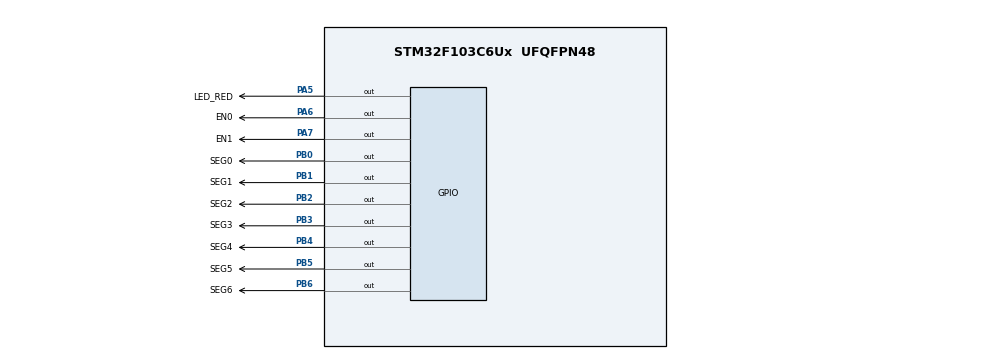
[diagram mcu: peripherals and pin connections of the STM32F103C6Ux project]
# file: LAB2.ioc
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Mcu.Family=STM32F1
Mcu.Name=STM32F103C6Ux
Mcu.Package=UFQFPN48
NVIC.PriorityGroup=NVIC_PRIORITYGROUP_4
NVIC.TIM2_IRQn=true\:0\:0\:false\:false\:true\:true\:true
PA5.GPIO_Label=LED_RED
PA5.Signal=GPIO_Output
PA6.GPIO_Label=EN0
PA6.Signal=GPIO_Output
PA7.GPIO_Label=EN1
PA7.Signal=GPIO_Output
PB0.GPIO_Label=SEG0
PB0.Signal=GPIO_Output
PB1.GPIO_Label=SEG1
PB1.Signal=GPIO_Output
PB2.GPIO_Label=SEG2
PB2.Signal=GPIO_Output
PB3.GPIO_Label=SEG3
PB3.Signal=GPIO_Output
PB4.GPIO_Label=SEG4
PB4.Signal=GPIO_Output
PB5.GPIO_Label=SEG5
PB5.Signal=GPIO_Output
PB6.GPIO_Label=SEG6
PB6.Signal=GPIO_Output
ProjectManager.HeapSize=0x200
ProjectManager.StackSize=0x400
ProjectManager.TargetToolchain=STM32CubeIDE
RCC.APB1Freq_Value=8000000
RCC.APB2Freq_Value=8000000
TIM2.Period=9
TIM2.Prescaler=7999
VP_SYS_VS_ND.Mode=No_Debug
VP_TIM2_VS_ClockSourceINT.Mode=Internal
board=custom

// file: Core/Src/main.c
/* USER CODE BEGIN Header */
/**
  ******************************************************************************
  * @file           : main.c
  * @brief          : Main program body
  ******************************************************************************
  * @attention
  *
  * <h2><center>&copy; Copyright (c) 2024 STMicroelectronics.
  * All rights reserved.</center></h2>
  *
  * This software component is licensed by ST under BSD 3-Clause license,
  * the "License"; You may not use this file except in compliance with the
  * License. You may obtain a copy of the License at:
  *                        opensource.org/licenses/BSD-3-Clause
  *
  ******************************************************************************
  */
/* USER CODE END Header */
#include "main.h"

/* USER CODE BEGIN Includes */
#include "software_timer.h"
/* USER CODE END Includes */

TIM_HandleTypeDef htim2;

void SystemClock_Config(void);
static void MX_TIM2_Init(void);
static void MX_GPIO_Init(void);
void display7SEG(int num);

int main(void)
{

  /* MCU Configuration--------------------------------------------------------*/

  /* Reset of all peripherals, Initializes the Flash interface and the Systick. */
  HAL_Init();

  /* Configure the system clock */
  SystemClock_Config();

  /* Initialize all configured peripherals */
  MX_TIM2_Init();
  MX_GPIO_Init();
  /* USER CODE BEGIN 2 */
  HAL_TIM_Base_Start_IT (& htim2 );
  void display7SEG(int num) {
      // Reset all segments to turn them off
      HAL_GPIO_WritePin(GPIOB, SEG0_Pin|SEG1_Pin|SEG2_Pin|SEG3_Pin|SEG4_Pin|SEG5_Pin|SEG6_Pin, GPIO_PIN_SET);
      switch(num) {
          case 1:
              // Turn on segments to display '1'
              HAL_GPIO_WritePin(GPIOB, SEG1_Pin|SEG2_Pin, GPIO_PIN_RESET);
              break;
          case 2:
              // Turn on segments to display '2'
              HAL_GPIO_WritePin(GPIOB, SEG0_Pin|SEG1_Pin|SEG3_Pin|SEG4_Pin|SEG6_Pin, GPIO_PIN_RESET);
              break;
          // Add cases for other numbers if necessary
      }
  }
  /* USER CODE END 2 */

  /* Infinite loop */
  /* USER CODE BEGIN WHILE */
  int current_display = 0;
  settimer1(50);
  while (1)
  {
	  if(timer1_flag==1){
		  switch (current_display) {
		  case 0:
			  HAL_GPIO_WritePin(GPIOA, EN0_Pin, GPIO_PIN_RESET); // Enable display 1 (PNP low)
			  HAL_GPIO_WritePin(GPIOA, EN1_Pin, GPIO_PIN_SET);   // Disable display 2 (PNP high)
			  display7SEG(1);
			  current_display = 1;
			  break;
		  case 1:
			  // Turn on display 2, turn off display 1
			  HAL_GPIO_WritePin(GPIOA, EN0_Pin, GPIO_PIN_SET);   // Disable display 1 (PNP high)
			  HAL_GPIO_WritePin(GPIOA, EN1_Pin, GPIO_PIN_RESET); // Enable display 2 (PNP low)
			  display7SEG(2);
			  current_display = 0;
			  break;
		  default:
			  current_display = 0;
			  break;
		  }
		  settimer1(50);
    /* USER CODE END WHILE */
	  }
  }
}
void SystemClock_Config(void)
{
  RCC_OscInitTypeDef RCC_OscInitStruct = {0};
  RCC_ClkInitTypeDef RCC_ClkInitStruct = {0};

  /** Initializes the RCC Oscillators according to the specified parameters
  * in the RCC_OscInitTypeDef structure.
  */
  RCC_OscInitStruct.OscillatorType = RCC_OSCILLATORTYPE_HSI;
  RCC_OscInitStruct.HSIState = RCC_HSI_ON;
  RCC_OscInitStruct.HSICalibrationValue = RCC_HSICALIBRATION_DEFAULT;
  RCC_OscInitStruct.PLL.PLLState = RCC_PLL_NONE;
  if (HAL_RCC_OscConfig(&RCC_OscInitStruct) != HAL_OK)
  {
    Error_Handler();
  }
  /** Initializes the CPU, AHB and APB buses clocks
  */
  RCC_ClkInitStruct.ClockType = RCC_CLOCKTYPE_HCLK|RCC_CLOCKTYPE_SYSCLK
                              |RCC_CLOCKTYPE_PCLK1|RCC_CLOCKTYPE_PCLK2;
  RCC_ClkInitStruct.SYSCLKSource = RCC_SYSCLKSOURCE_HSI;
  RCC_ClkInitStruct.AHBCLKDivider = RCC_SYSCLK_DIV1;
  RCC_ClkInitStruct.APB1CLKDivider = RCC_HCLK_DIV1;
  RCC_ClkInitStruct.APB2CLKDivider = RCC_HCLK_DIV1;

  if (HAL_RCC_ClockConfig(&RCC_ClkInitStruct, FLASH_LATENCY_0) != HAL_OK)
  {
    Error_Handler();
  }
}

static void MX_TIM2_Init(void)
{

  TIM_ClockConfigTypeDef sClockSourceConfig = {0};
  TIM_MasterConfigTypeDef sMasterConfig = {0};

  htim2.Instance = TIM2;
  htim2.Init.Prescaler = 7999;
  htim2.Init.CounterMode = TIM_COUNTERMODE_UP;
  htim2.Init.Period = 9;
  htim2.Init.ClockDivision = TIM_CLOCKDIVISION_DIV1;
  htim2.Init.AutoReloadPreload = TIM_AUTORELOAD_PRELOAD_DISABLE;
  if (HAL_TIM_Base_Init(&htim2) != HAL_OK)
  {
    Error_Handler();
  }
  sClockSourceConfig.ClockSource = TIM_CLOCKSOURCE_INTERNAL;
  if (HAL_TIM_ConfigClockSource(&htim2, &sClockSourceConfig) != HAL_OK)
  {
    Error_Handler();
  }
  sMasterConfig.MasterOutputTrigger = TIM_TRGO_RESET;
  sMasterConfig.MasterSlaveMode = TIM_MASTERSLAVEMODE_DISABLE;
  if (HAL_TIMEx_MasterConfigSynchronization(&htim2, &sMasterConfig) != HAL_OK)
  {
    Error_Handler();
  }

}

static void MX_GPIO_Init(void)
{
  GPIO_InitTypeDef GPIO_InitStruct = {0};

  /* GPIO Ports Clock Enable */
  __HAL_RCC_GPIOA_CLK_ENABLE();
  __HAL_RCC_GPIOB_CLK_ENABLE();

  /*Configure GPIO pin Output Level */
  HAL_GPIO_WritePin(GPIOA, LED_RED_Pin|EN0_Pin|EN1_Pin, GPIO_PIN_RESET);

  /*Configure GPIO pin Output Level */
  HAL_GPIO_WritePin(GPIOB, SEG0_Pin|SEG1_Pin|SEG2_Pin|SEG3_Pin
                          |SEG4_Pin|SEG5_Pin|SEG6_Pin, GPIO_PIN_RESET);

  /*Configure GPIO pins : LED_RED_Pin EN0_Pin EN1_Pin */
  GPIO_InitStruct.Pin = LED_RED_Pin|EN0_Pin|EN1_Pin;
  GPIO_InitStruct.Mode = GPIO_MODE_OUTPUT_PP;
  GPIO_InitStruct.Pull = GPIO_NOPULL;
  GPIO_InitStruct.Speed = GPIO_SPEED_FREQ_LOW;
  HAL_GPIO_Init(GPIOA, &GPIO_InitStruct);

  /*Configure GPIO pins : SEG0_Pin SEG1_Pin SEG2_Pin SEG3_Pin
                           SEG4_Pin SEG5_Pin SEG6_Pin */
  GPIO_InitStruct.Pin = SEG0_Pin|SEG1_Pin|SEG2_Pin|SEG3_Pin
                          |SEG4_Pin|SEG5_Pin|SEG6_Pin;
  GPIO_InitStruct.Mode = GPIO_MODE_OUTPUT_PP;
  GPIO_InitStruct.Pull = GPIO_NOPULL;
  GPIO_InitStruct.Speed = GPIO_SPEED_FREQ_LOW;
  HAL_GPIO_Init(GPIOB, &GPIO_InitStruct);

}

/* USER CODE BEGIN 4 */
void HAL_TIM_PeriodElapsedCallback(TIM_HandleTypeDef *htim) {
	timerun();
}
/* USER CODE END 4 */

void Error_Handler(void)
{
  __disable_irq();
  while (1)
  {
  }
}

/************************ (C) COPYRIGHT STMicroelectronics *****END OF FILE****/
